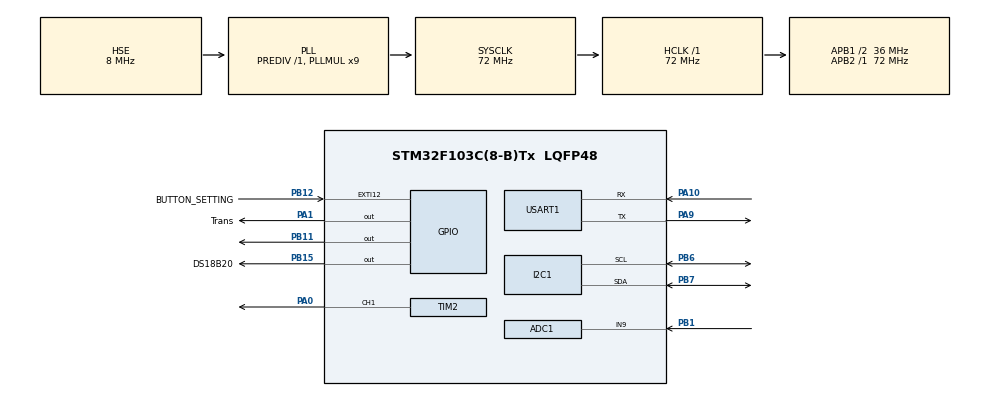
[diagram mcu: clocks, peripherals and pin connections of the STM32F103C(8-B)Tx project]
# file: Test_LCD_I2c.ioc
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ADC1.Channel-4\#ChannelRegularConversion=ADC_CHANNEL_9
ADC1.ContinuousConvMode=ENABLE
ADC1.NbrOfConversionFlag=1
ADC1.Rank-4\#ChannelRegularConversion=1
ADC1.SamplingTime-4\#ChannelRegularConversion=ADC_SAMPLETIME_1CYCLE_5
ADC1.master=1
Mcu.Family=STM32F1
Mcu.Name=STM32F103C(8-B)Tx
Mcu.Package=LQFP48
NVIC.PriorityGroup=NVIC_PRIORITYGROUP_4
NVIC.TIM3_IRQn=true\:2\:0\:true\:false\:true\:true\:true\:true
PA0-WKUP.Signal=S_TIM2_CH1_ETR
PA1.GPIO_Label=Trans
PA1.Signal=GPIO_Output
PA10.Mode=Asynchronous
PA10.Signal=USART1_RX
PA13.Mode=Serial_Wire
PA13.Signal=SYS_JTMS-SWDIO
PA14.Mode=Serial_Wire
PA14.Signal=SYS_JTCK-SWCLK
PA9.Mode=Asynchronous
PA9.Signal=USART1_TX
PB1.Signal=ADCx_IN9
PB11.Signal=GPIO_Output
PB12.GPIO_Label=BUTTON_SETTING
PB12.GPIO_PuPd=GPIO_PULLUP
PB12.Signal=GPXTI12
PB15.GPIO_Label=DS18B20
PB15.Signal=GPIO_Output
PB6.Mode=I2C
PB6.Signal=I2C1_SCL
PB7.Mode=I2C
PB7.Signal=I2C1_SDA
PD0-OSC_IN.Mode=HSE-External-Oscillator
PD0-OSC_IN.Signal=RCC_OSC_IN
PD1-OSC_OUT.Mode=HSE-External-Oscillator
PD1-OSC_OUT.Signal=RCC_OSC_OUT
ProjectManager.HeapSize=0x200
ProjectManager.StackSize=0x400
ProjectManager.TargetToolchain=MDK-ARM V5.32
RCC.ADCPresc=RCC_ADCPCLK2_DIV8
RCC.AHBFreq_Value=72000000
RCC.APB1CLKDivider=RCC_HCLK_DIV2
RCC.APB1Freq_Value=36000000
RCC.APB1TimFreq_Value=72000000
RCC.APB2Freq_Value=72000000
RCC.APB2TimFreq_Value=72000000
RCC.HCLKFreq_Value=72000000
RCC.PLLMUL=RCC_PLL_MUL9
RCC.PLLSourceVirtual=RCC_PLLSOURCE_HSE
RCC.SYSCLKFreq_VALUE=72000000
RCC.SYSCLKSource=RCC_SYSCLKSOURCE_PLLCLK
RCC.USBFreq_Value=72000000
SH.ADCx_IN9.0=ADC1_IN9,IN9
SH.S_TIM2_CH1_ETR.0=TIM2_CH1,PWM Generation1 CH1
TIM2.AutoReloadPreload=TIM_AUTORELOAD_PRELOAD_DISABLE
TIM2.Channel-PWM\ Generation1\ CH1=TIM_CHANNEL_1
TIM2.Period=99
TIM2.Prescaler=8000
TIM2.Pulse-PWM\ Generation1\ CH1=25
TIM3.Period=19999
TIM3.Prescaler=7199
TIM4.Prescaler=72-1
USART1.VirtualMode=VM_ASYNC
VP_TIM2_VS_ClockSourceINT.Mode=Internal
VP_TIM3_VS_ClockSourceINT.Mode=Internal
VP_TIM4_VS_ClockSourceINT.Mode=Internal
board=custom

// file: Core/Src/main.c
/* USER CODE BEGIN Header */
/**
  ******************************************************************************
  * @file           : main.c
  * @brief          : Main program body
  ******************************************************************************
  * @attention
  *
  * <h2><center>&copy; Copyright (c) 2020 STMicroelectronics.
  * All rights reserved.</center></h2>
  *
  * This software component is licensed by ST under BSD 3-Clause license,
  * the "License"; You may not use this file except in compliance with the
  * License. You may obtain a copy of the License at:
  *                        opensource.org/licenses/BSD-3-Clause
  *
  ******************************************************************************
  */
/* USER CODE END Header */
#include "main.h"
#include "CLCD_I2C.h"
#include <stdio.h>
#include "Setpoint_Interrupt.h"
#include "DS18B20.h"
#include "delay_timer.h"
#include "math.h"
#include "i2c-lcd.h"

/* USER CODE BEGIN Includes */
// Khai báo bi?n d? luu tr? tr?ng thái dèn

/* USER CODE END Includes */

ADC_HandleTypeDef hadc1;

I2C_HandleTypeDef hi2c1;

TIM_HandleTypeDef htim2;
TIM_HandleTypeDef htim3;
TIM_HandleTypeDef htim4;

UART_HandleTypeDef huart1;

/* USER CODE BEGIN PV */
CLCD_I2C_Name LCD1;
BUTTON_Setting SETTING;
uint8_t Flag_Interrup =0;
uint8_t Flag_Send =0;

DS18B20_Name DS1;
float Temp;
float Data ;

float Kp = 5;
float Ki = 0.005;
float Kd = 45;

float prev_error = 0.0;
float integral = 0.0;
/* USER CODE END PV */

void SystemClock_Config(void);
static void MX_GPIO_Init(void);
static void MX_I2C1_Init(void);
static void MX_ADC1_Init(void);
static void MX_TIM2_Init(void);
static void MX_USART1_UART_Init(void);
static void MX_TIM3_Init(void);
static void MX_TIM4_Init(void);

/* USER CODE BEGIN 0 */
void PID_Control(float current_temperature, float setpoint_temperature) {
    float error = - setpoint_temperature + current_temperature;
    float pid_output = Kp * error + Ki * integral + Kd * (error - prev_error);

    if (pid_output > 100.0) {
        pid_output = 100.0;
    } else if (pid_output < 0.0) {
        pid_output = 0.0;
    }

    integral += error;
    prev_error = error;

    __HAL_TIM_SET_COMPARE(&htim2, TIM_CHANNEL_1, (uint32_t)(pid_output * htim2.Init.Period / 100.0));
}

void HAL_TIM_PeriodElapsedCallback(TIM_HandleTypeDef * htim){
	Flag_Send = 1;
}
void Printf_Sever(char *data_send, float Temp){
		sprintf(data_send, "Temperature: %.2f\n", Temp);
    HAL_UART_Transmit(&huart1, (uint8_t*)data_send, strlen(data_send), HAL_MAX_DELAY);
}

/* USER CODE END 0 */

int main(void)
{

  /* MCU Configuration--------------------------------------------------------*/

  /* Reset of all peripherals, Initializes the Flash interface and the Systick. */
  HAL_Init();

  /* Configure the system clock */
  SystemClock_Config();

  /* Initialize all configured peripherals */
  MX_GPIO_Init();
  MX_I2C1_Init();
  MX_ADC1_Init();
  MX_TIM2_Init();
  MX_USART1_UART_Init();
  MX_TIM3_Init();
  MX_TIM4_Init();
  /* USER CODE BEGIN 2 */
	HAL_ADC_Start(&hadc1);
	CLCD_I2C_Init(&LCD1,&hi2c1,0x4e,16,2);
  HAL_TIM_Base_Start_IT(&htim3);
	BUTTON_Setting_Init( &SETTING, BUTTON_SETTING_GPIO_Port, BUTTON_SETTING_Pin);
	HAL_TIM_PWM_Start(&htim2, TIM_CHANNEL_1);
	lcd_init();
	DS18B20_Init(&DS1, &htim4, DS18B20_GPIO_Port, DS18B20_Pin);
	char data_send[5];
	Data = 25 ;
  /* USER CODE END 2 */

  /* Infinite loop */
  while (1)
  {

    /* USER CODE BEGIN 3 */
		if(Flag_Send) {
			Printf_Sever(data_send, Temp);
			Flag_Send = 0;
			}

		if(HAL_GPIO_ReadPin(SETTING.BUTTON_PORT, SETTING.BUTTON_Pin)){
			Data = Setpoint_Interrupt_Mode(&SETTING, &LCD1, &hadc1);
			}

			Temp = DS18B20_ReadTemp(&DS1);
			lcd_clear();
			lcd_put_cur(0,0);
		  lcd_send_string("Setpoint: ");
			sprintf(data_send,"%2.2f",Data);
		  lcd_send_string(data_send);
		  lcd_put_cur(1,2);
      lcd_send_string("T = ");
      lcd_put_cur(1,11);
      lcd_send_data(223);
      lcd_put_cur(1,12);
      lcd_send_string("C");
			PID_Control(Temp, Data);
			sprintf(data_send,"%2.2f",Temp);
		  lcd_send_cmd(0x80|0x46);
		  lcd_send_string(data_send);
			if (Temp <=25 ) HAL_GPIO_WritePin(Trans_GPIO_Port,Trans_Pin,1);
			else if (Temp >=30 ) HAL_GPIO_WritePin(Trans_GPIO_Port,Trans_Pin,0);
				HAL_Delay(1000);
    /* USER CODE BEGIN 3 */
  }
  /* USER CODE END 3 */
}

void SystemClock_Config(void)
{
  RCC_OscInitTypeDef RCC_OscInitStruct = {0};
  RCC_ClkInitTypeDef RCC_ClkInitStruct = {0};
  RCC_PeriphCLKInitTypeDef PeriphClkInit = {0};

  /** Initializes the RCC Oscillators according to the specified parameters
  * in the RCC_OscInitTypeDef structure.
  */
  RCC_OscInitStruct.OscillatorType = RCC_OSCILLATORTYPE_HSE;
  RCC_OscInitStruct.HSEState = RCC_HSE_ON;
  RCC_OscInitStruct.HSEPredivValue = RCC_HSE_PREDIV_DIV1;
  RCC_OscInitStruct.HSIState = RCC_HSI_ON;
  RCC_OscInitStruct.PLL.PLLState = RCC_PLL_ON;
  RCC_OscInitStruct.PLL.PLLSource = RCC_PLLSOURCE_HSE;
  RCC_OscInitStruct.PLL.PLLMUL = RCC_PLL_MUL9;
  if (HAL_RCC_OscConfig(&RCC_OscInitStruct) != HAL_OK)
  {
    Error_Handler();
  }

  /** Initializes the CPU, AHB and APB buses clocks
  */
  RCC_ClkInitStruct.ClockType = RCC_CLOCKTYPE_HCLK|RCC_CLOCKTYPE_SYSCLK
                              |RCC_CLOCKTYPE_PCLK1|RCC_CLOCKTYPE_PCLK2;
  RCC_ClkInitStruct.SYSCLKSource = RCC_SYSCLKSOURCE_PLLCLK;
  RCC_ClkInitStruct.AHBCLKDivider = RCC_SYSCLK_DIV1;
  RCC_ClkInitStruct.APB1CLKDivider = RCC_HCLK_DIV2;
  RCC_ClkInitStruct.APB2CLKDivider = RCC_HCLK_DIV1;

  if (HAL_RCC_ClockConfig(&RCC_ClkInitStruct, FLASH_LATENCY_2) != HAL_OK)
  {
    Error_Handler();
  }
  PeriphClkInit.PeriphClockSelection = RCC_PERIPHCLK_ADC;
  PeriphClkInit.AdcClockSelection = RCC_ADCPCLK2_DIV8;
  if (HAL_RCCEx_PeriphCLKConfig(&PeriphClkInit) != HAL_OK)
  {
    Error_Handler();
  }
}

static void MX_ADC1_Init(void)
{

  ADC_ChannelConfTypeDef sConfig = {0};

  /** Common config
  */
  hadc1.Instance = ADC1;
  hadc1.Init.ScanConvMode = ADC_SCAN_DISABLE;
  hadc1.Init.ContinuousConvMode = ENABLE;
  hadc1.Init.DiscontinuousConvMode = DISABLE;
  hadc1.Init.ExternalTrigConv = ADC_SOFTWARE_START;
  hadc1.Init.DataAlign = ADC_DATAALIGN_RIGHT;
  hadc1.Init.NbrOfConversion = 1;
  if (HAL_ADC_Init(&hadc1) != HAL_OK)
  {
    Error_Handler();
  }

  /** Configure Regular Channel
  */
  sConfig.Channel = ADC_CHANNEL_9;
  sConfig.Rank = ADC_REGULAR_RANK_1;
  sConfig.SamplingTime = ADC_SAMPLETIME_1CYCLE_5;
  if (HAL_ADC_ConfigChannel(&hadc1, &sConfig) != HAL_OK)
  {
    Error_Handler();
  }

}

static void MX_I2C1_Init(void)
{

  hi2c1.Instance = I2C1;
  hi2c1.Init.ClockSpeed = 100000;
  hi2c1.Init.DutyCycle = I2C_DUTYCYCLE_2;
  hi2c1.Init.OwnAddress1 = 0;
  hi2c1.Init.AddressingMode = I2C_ADDRESSINGMODE_7BIT;
  hi2c1.Init.DualAddressMode = I2C_DUALADDRESS_DISABLE;
  hi2c1.Init.OwnAddress2 = 0;
  hi2c1.Init.GeneralCallMode = I2C_GENERALCALL_DISABLE;
  hi2c1.Init.NoStretchMode = I2C_NOSTRETCH_DISABLE;
  if (HAL_I2C_Init(&hi2c1) != HAL_OK)
  {
    Error_Handler();
  }

}

static void MX_TIM2_Init(void)
{

  TIM_ClockConfigTypeDef sClockSourceConfig = {0};
  TIM_MasterConfigTypeDef sMasterConfig = {0};
  TIM_OC_InitTypeDef sConfigOC = {0};

  htim2.Instance = TIM2;
  htim2.Init.Prescaler = 8000;
  htim2.Init.CounterMode = TIM_COUNTERMODE_UP;
  htim2.Init.Period = 99;
  htim2.Init.ClockDivision = TIM_CLOCKDIVISION_DIV1;
  htim2.Init.AutoReloadPreload = TIM_AUTORELOAD_PRELOAD_DISABLE;
  if (HAL_TIM_Base_Init(&htim2) != HAL_OK)
  {
    Error_Handler();
  }
  sClockSourceConfig.ClockSource = TIM_CLOCKSOURCE_INTERNAL;
  if (HAL_TIM_ConfigClockSource(&htim2, &sClockSourceConfig) != HAL_OK)
  {
    Error_Handler();
  }
  if (HAL_TIM_PWM_Init(&htim2) != HAL_OK)
  {
    Error_Handler();
  }
  sMasterConfig.MasterOutputTrigger = TIM_TRGO_RESET;
  sMasterConfig.MasterSlaveMode = TIM_MASTERSLAVEMODE_DISABLE;
  if (HAL_TIMEx_MasterConfigSynchronization(&htim2, &sMasterConfig) != HAL_OK)
  {
    Error_Handler();
  }
  sConfigOC.OCMode = TIM_OCMODE_PWM1;
  sConfigOC.Pulse = 25;
  sConfigOC.OCPolarity = TIM_OCPOLARITY_HIGH;
  sConfigOC.OCFastMode = TIM_OCFAST_DISABLE;
  if (HAL_TIM_PWM_ConfigChannel(&htim2, &sConfigOC, TIM_CHANNEL_1) != HAL_OK)
  {
    Error_Handler();
  }
  HAL_TIM_MspPostInit(&htim2);

}

static void MX_TIM3_Init(void)
{

  TIM_ClockConfigTypeDef sClockSourceConfig = {0};
  TIM_MasterConfigTypeDef sMasterConfig = {0};

  htim3.Instance = TIM3;
  htim3.Init.Prescaler = 7199;
  htim3.Init.CounterMode = TIM_COUNTERMODE_UP;
  htim3.Init.Period = 19999;
  htim3.Init.ClockDivision = TIM_CLOCKDIVISION_DIV1;
  htim3.Init.AutoReloadPreload = TIM_AUTORELOAD_PRELOAD_DISABLE;
  if (HAL_TIM_Base_Init(&htim3) != HAL_OK)
  {
    Error_Handler();
  }
  sClockSourceConfig.ClockSource = TIM_CLOCKSOURCE_INTERNAL;
  if (HAL_TIM_ConfigClockSource(&htim3, &sClockSourceConfig) != HAL_OK)
  {
    Error_Handler();
  }
  sMasterConfig.MasterOutputTrigger = TIM_TRGO_RESET;
  sMasterConfig.MasterSlaveMode = TIM_MASTERSLAVEMODE_DISABLE;
  if (HAL_TIMEx_MasterConfigSynchronization(&htim3, &sMasterConfig) != HAL_OK)
  {
    Error_Handler();
  }

}

static void MX_TIM4_Init(void)
{

  TIM_ClockConfigTypeDef sClockSourceConfig = {0};
  TIM_MasterConfigTypeDef sMasterConfig = {0};

  htim4.Instance = TIM4;
  htim4.Init.Prescaler = 72-1;
  htim4.Init.CounterMode = TIM_COUNTERMODE_UP;
  htim4.Init.Period = 65535;
  htim4.Init.ClockDivision = TIM_CLOCKDIVISION_DIV1;
  htim4.Init.AutoReloadPreload = TIM_AUTORELOAD_PRELOAD_DISABLE;
  if (HAL_TIM_Base_Init(&htim4) != HAL_OK)
  {
    Error_Handler();
  }
  sClockSourceConfig.ClockSource = TIM_CLOCKSOURCE_INTERNAL;
  if (HAL_TIM_ConfigClockSource(&htim4, &sClockSourceConfig) != HAL_OK)
  {
    Error_Handler();
  }
  sMasterConfig.MasterOutputTrigger = TIM_TRGO_RESET;
  sMasterConfig.MasterSlaveMode = TIM_MASTERSLAVEMODE_DISABLE;
  if (HAL_TIMEx_MasterConfigSynchronization(&htim4, &sMasterConfig) != HAL_OK)
  {
    Error_Handler();
  }

}

static void MX_USART1_UART_Init(void)
{

  huart1.Instance = USART1;
  huart1.Init.BaudRate = 115200;
  huart1.Init.WordLength = UART_WORDLENGTH_8B;
  huart1.Init.StopBits = UART_STOPBITS_1;
  huart1.Init.Parity = UART_PARITY_NONE;
  huart1.Init.Mode = UART_MODE_TX_RX;
  huart1.Init.HwFlowCtl = UART_HWCONTROL_NONE;
  huart1.Init.OverSampling = UART_OVERSAMPLING_16;
  if (HAL_UART_Init(&huart1) != HAL_OK)
  {
    Error_Handler();
  }

}

static void MX_GPIO_Init(void)
{
  GPIO_InitTypeDef GPIO_InitStruct = {0};

  /* GPIO Ports Clock Enable */
  __HAL_RCC_GPIOD_CLK_ENABLE();
  __HAL_RCC_GPIOA_CLK_ENABLE();
  __HAL_RCC_GPIOB_CLK_ENABLE();

  /*Configure GPIO pin Output Level */
  HAL_GPIO_WritePin(Trans_GPIO_Port, Trans_Pin, GPIO_PIN_RESET);

  /*Configure GPIO pin Output Level */
  HAL_GPIO_WritePin(GPIOB, GPIO_PIN_11|DS18B20_Pin, GPIO_PIN_RESET);

  /*Configure GPIO pin : Trans_Pin */
  GPIO_InitStruct.Pin = Trans_Pin;
  GPIO_InitStruct.Mode = GPIO_MODE_OUTPUT_PP;
  GPIO_InitStruct.Pull = GPIO_NOPULL;
  GPIO_InitStruct.Speed = GPIO_SPEED_FREQ_LOW;
  HAL_GPIO_Init(Trans_GPIO_Port, &GPIO_InitStruct);

  /*Configure GPIO pins : PB11 DS18B20_Pin */
  GPIO_InitStruct.Pin = GPIO_PIN_11|DS18B20_Pin;
  GPIO_InitStruct.Mode = GPIO_MODE_OUTPUT_PP;
  GPIO_InitStruct.Pull = GPIO_NOPULL;
  GPIO_InitStruct.Speed = GPIO_SPEED_FREQ_LOW;
  HAL_GPIO_Init(GPIOB, &GPIO_InitStruct);

  /*Configure GPIO pin : BUTTON_SETTING_Pin */
  GPIO_InitStruct.Pin = BUTTON_SETTING_Pin;
  GPIO_InitStruct.Mode = GPIO_MODE_IT_RISING;
  GPIO_InitStruct.Pull = GPIO_PULLUP;
  HAL_GPIO_Init(BUTTON_SETTING_GPIO_Port, &GPIO_InitStruct);

}

void Error_Handler(void)
{
}
